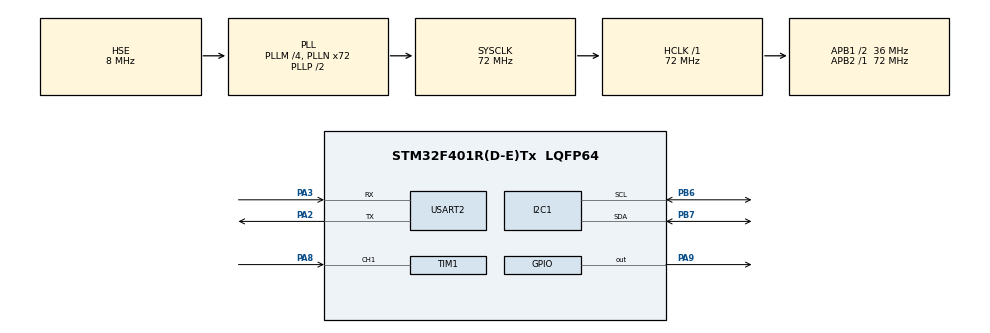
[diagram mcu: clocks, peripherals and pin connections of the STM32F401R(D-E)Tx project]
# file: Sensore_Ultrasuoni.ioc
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Mcu.Family=STM32F4
Mcu.Name=STM32F401R(D-E)Tx
Mcu.Package=LQFP64
NVIC.PriorityGroup=NVIC_PRIORITYGROUP_0
NVIC.TIM1_CC_IRQn=true\:0\:0\:false\:false\:true\:true\:true
PA13.Mode=Serial_Wire
PA13.Signal=SYS_JTMS-SWDIO
PA14.Mode=Serial_Wire
PA14.Signal=SYS_JTCK-SWCLK
PA2.Mode=Asynchronous
PA2.Signal=USART2_TX
PA3.Mode=Asynchronous
PA3.Signal=USART2_RX
PA8.Signal=S_TIM1_CH1
PA9.Signal=GPIO_Output
PB3.Signal=SYS_JTDO-SWO
PB6.Mode=I2C
PB6.Signal=I2C1_SCL
PB7.Mode=I2C
PB7.Signal=I2C1_SDA
PH0\ -\ OSC_IN.Mode=HSE-External-Clock-Source
PH0\ -\ OSC_IN.Signal=RCC_OSC_IN
PH1\ -\ OSC_OUT.Mode=HSE-External-Clock-Source
PH1\ -\ OSC_OUT.Signal=RCC_OSC_OUT
ProjectManager.HeapSize=0x200
ProjectManager.StackSize=0x400
ProjectManager.TargetToolchain=STM32CubeIDE
RCC.48MHZClocksFreq_Value=20571428.57142857
RCC.AHBFreq_Value=72000000
RCC.APB1CLKDivider=RCC_HCLK_DIV2
RCC.APB1Freq_Value=36000000
RCC.APB1TimFreq_Value=72000000
RCC.APB2Freq_Value=72000000
RCC.APB2TimFreq_Value=72000000
RCC.CortexFreq_Value=72000000
RCC.HCLKFreq_Value=72000000
RCC.HSE_VALUE=8000000
RCC.HSI_VALUE=16000000
RCC.PLLM=4
RCC.PLLN=72
RCC.PLLQ=7
RCC.PLLSourceVirtual=RCC_PLLSOURCE_HSE
RCC.SYSCLKFreq_VALUE=72000000
RCC.SYSCLKSource=RCC_SYSCLKSOURCE_PLLCLK
RCC.VCOOutputFreq_Value=144000000
SH.S_TIM1_CH1.0=TIM1_CH1,Input_Capture1_from_TI1
TIM1.Channel-Input_Capture1_from_TI1=TIM_CHANNEL_1
TIM1.Period=0xFFFF-1
TIM1.Prescaler=72-1
USART2.VirtualMode=VM_ASYNC
board=NUCLEO-F401RE

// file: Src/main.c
/* USER CODE BEGIN Header */
/**
  ******************************************************************************
  * @file           : main.c
  * @brief          : Enrico Ubaldino - url: https://controllerstech.com/hcsr04-ultrasonic-sensor-and-stm32/
  ******************************************************************************
  * @attention
  *
  * <h2><center>&copy; Copyright (c) 2023 STMicroelectronics.
  * All rights reserved.</center></h2>
  *
  * This software component is licensed by ST under BSD 3-Clause license,
  * the "License"; You may not use this file except in compliance with the
  * License. You may obtain a copy of the License at:
  *                        opensource.org/licenses/BSD-3-Clause
  *
  ******************************************************************************
  */
/* USER CODE END Header */

#include "main.h"

I2C_HandleTypeDef hi2c1;

TIM_HandleTypeDef htim1;

UART_HandleTypeDef huart2;

void SystemClock_Config(void);
static void MX_GPIO_Init(void);
static void MX_TIM1_Init(void);
static void MX_I2C1_Init(void);
static void MX_USART2_UART_Init(void);

/* USER CODE BEGIN 0 */
uint32_t IC_Val1 = 0;
uint32_t IC_Val2 = 0;
uint32_t Difference = 0;
uint8_t Is_First_Captured = 0;  // is the first value captured ?
uint8_t Distance  = 0;
//GPIO
#define TRIG_PORT GPIOA
//Pin TRIG
#define TRIG_PIN GPIO_PIN_8
//Pin ECHO
#define ECHO_PIN GPIO_PIN_9

void delay (uint16_t time){
	__HAL_TIM_SET_COUNTER(&htim1, 0);
	while(__HAL_TIM_GET_COUNTER (&htim1) < time);
}

// Let's write the callback function
void HAL_TIM_IC_CaptureCallback(TIM_HandleTypeDef *htim)
{
	if (htim->Channel == HAL_TIM_ACTIVE_CHANNEL_1)  // if the interrupt source is channel1
	{
		if (Is_First_Captured==0) // if the first value is not captured
		{
			IC_Val1 = HAL_TIM_ReadCapturedValue(htim, TIM_CHANNEL_1); // read the first value
			Is_First_Captured = 1;  // set the first captured as true
			// Now change the polarity to falling edge
			__HAL_TIM_SET_CAPTUREPOLARITY(htim, TIM_CHANNEL_1, TIM_INPUTCHANNELPOLARITY_FALLING);
		}

		else if (Is_First_Captured==1)   // if the first is already captured
		{
			IC_Val2 = HAL_TIM_ReadCapturedValue(htim, TIM_CHANNEL_1);  // read second value
			__HAL_TIM_SET_COUNTER(htim, 0);  // reset the counter

			if (IC_Val2 > IC_Val1)
			{
				Difference = IC_Val2-IC_Val1;
			}

			else if (IC_Val1 > IC_Val2)
			{
				Difference = (0xffff - IC_Val1) + IC_Val2;
			}

			Distance = Difference * .034/2;//sound velocity
			Is_First_Captured = 0; // set it back to false

			// set polarity to rising edge
			__HAL_TIM_SET_CAPTUREPOLARITY(htim, TIM_CHANNEL_1, TIM_INPUTCHANNELPOLARITY_RISING);
			__HAL_TIM_DISABLE_IT(&htim1, TIM_IT_CC1);
		}
	}
}

//Manda burst
void HCSR04_Read (void){
	HAL_GPIO_WritePin(TRIG_PORT, TRIG_PIN, GPIO_PIN_SET);  // pull the TRIG pin HIGH
	delay(10);  // wait for 10 us
	HAL_GPIO_WritePin(TRIG_PORT, TRIG_PIN, GPIO_PIN_RESET);  // pull the TRIG pin low

	__HAL_TIM_ENABLE_IT(&htim1, TIM_IT_CC1);
}
/* USER CODE END 0 */

int main(void)
{

  /* MCU Configuration--------------------------------------------------------*/

  /* Reset of all peripherals, Initializes the Flash interface and the Systick. */
  HAL_Init();

  /* Configure the system clock */
  SystemClock_Config();

  /* Initialize all configured peripherals */
  MX_GPIO_Init();
  MX_TIM1_Init();
  MX_I2C1_Init();
  MX_USART2_UART_Init();
  /* USER CODE BEGIN 2 */

  HAL_TIM_IC_Start_IT(&htim1, TIM_CHANNEL_1);
  HAL_UART_Transmit(&huart2, "ST NUCLEO Enrico Ubaldino Started! \n\r", 19, 0xFFFF);

  /* USER CODE END 2 */

  /* Infinite loop */
  while (1)
  {

    /* USER CODE BEGIN 3 */
	  //Eseguo una lettura
	  HCSR04_Read();
	  //wait prima della prossima lettura
	  HAL_Delay(200);
	  char msg[100] = {'\0'};
	  sprintf(&msg, "Distance: %dcm\r\n", Distance);
	  HAL_UART_Transmit(&huart2, (uint8_t*)&msg, strlen(msg), 0xFFFF);

  }
  /* USER CODE END 3 */
}

void SystemClock_Config(void)
{
  RCC_OscInitTypeDef RCC_OscInitStruct = {0};
  RCC_ClkInitTypeDef RCC_ClkInitStruct = {0};

  /** Configure the main internal regulator output voltage
  */
  __HAL_RCC_PWR_CLK_ENABLE();
  __HAL_PWR_VOLTAGESCALING_CONFIG(PWR_REGULATOR_VOLTAGE_SCALE2);
  /** Initializes the CPU, AHB and APB busses clocks
  */
  RCC_OscInitStruct.OscillatorType = RCC_OSCILLATORTYPE_HSE;
  RCC_OscInitStruct.HSEState = RCC_HSE_BYPASS;
  RCC_OscInitStruct.PLL.PLLState = RCC_PLL_ON;
  RCC_OscInitStruct.PLL.PLLSource = RCC_PLLSOURCE_HSE;
  RCC_OscInitStruct.PLL.PLLM = 4;
  RCC_OscInitStruct.PLL.PLLN = 72;
  RCC_OscInitStruct.PLL.PLLP = RCC_PLLP_DIV2;
  RCC_OscInitStruct.PLL.PLLQ = 7;
  if (HAL_RCC_OscConfig(&RCC_OscInitStruct) != HAL_OK)
  {
    Error_Handler();
  }
  /** Initializes the CPU, AHB and APB busses clocks
  */
  RCC_ClkInitStruct.ClockType = RCC_CLOCKTYPE_HCLK|RCC_CLOCKTYPE_SYSCLK
                              |RCC_CLOCKTYPE_PCLK1|RCC_CLOCKTYPE_PCLK2;
  RCC_ClkInitStruct.SYSCLKSource = RCC_SYSCLKSOURCE_PLLCLK;
  RCC_ClkInitStruct.AHBCLKDivider = RCC_SYSCLK_DIV1;
  RCC_ClkInitStruct.APB1CLKDivider = RCC_HCLK_DIV2;
  RCC_ClkInitStruct.APB2CLKDivider = RCC_HCLK_DIV1;

  if (HAL_RCC_ClockConfig(&RCC_ClkInitStruct, FLASH_LATENCY_2) != HAL_OK)
  {
    Error_Handler();
  }
}

static void MX_I2C1_Init(void)
{

  hi2c1.Instance = I2C1;
  hi2c1.Init.ClockSpeed = 100000;
  hi2c1.Init.DutyCycle = I2C_DUTYCYCLE_2;
  hi2c1.Init.OwnAddress1 = 0;
  hi2c1.Init.AddressingMode = I2C_ADDRESSINGMODE_7BIT;
  hi2c1.Init.DualAddressMode = I2C_DUALADDRESS_DISABLE;
  hi2c1.Init.OwnAddress2 = 0;
  hi2c1.Init.GeneralCallMode = I2C_GENERALCALL_DISABLE;
  hi2c1.Init.NoStretchMode = I2C_NOSTRETCH_DISABLE;
  if (HAL_I2C_Init(&hi2c1) != HAL_OK)
  {
    Error_Handler();
  }

}

static void MX_TIM1_Init(void)
{

  TIM_MasterConfigTypeDef sMasterConfig = {0};
  TIM_IC_InitTypeDef sConfigIC = {0};

  htim1.Instance = TIM1;
  htim1.Init.Prescaler = 72-1;
  htim1.Init.CounterMode = TIM_COUNTERMODE_UP;
  htim1.Init.Period = 0xFFFF-1;
  htim1.Init.ClockDivision = TIM_CLOCKDIVISION_DIV1;
  htim1.Init.RepetitionCounter = 0;
  htim1.Init.AutoReloadPreload = TIM_AUTORELOAD_PRELOAD_DISABLE;
  if (HAL_TIM_IC_Init(&htim1) != HAL_OK)
  {
    Error_Handler();
  }
  sMasterConfig.MasterOutputTrigger = TIM_TRGO_RESET;
  sMasterConfig.MasterSlaveMode = TIM_MASTERSLAVEMODE_DISABLE;
  if (HAL_TIMEx_MasterConfigSynchronization(&htim1, &sMasterConfig) != HAL_OK)
  {
    Error_Handler();
  }
  sConfigIC.ICPolarity = TIM_INPUTCHANNELPOLARITY_RISING;
  sConfigIC.ICSelection = TIM_ICSELECTION_DIRECTTI;
  sConfigIC.ICPrescaler = TIM_ICPSC_DIV1;
  sConfigIC.ICFilter = 0;
  if (HAL_TIM_IC_ConfigChannel(&htim1, &sConfigIC, TIM_CHANNEL_1) != HAL_OK)
  {
    Error_Handler();
  }

}

static void MX_USART2_UART_Init(void)
{

  huart2.Instance = USART2;
  huart2.Init.BaudRate = 115200;
  huart2.Init.WordLength = UART_WORDLENGTH_8B;
  huart2.Init.StopBits = UART_STOPBITS_1;
  huart2.Init.Parity = UART_PARITY_NONE;
  huart2.Init.Mode = UART_MODE_TX_RX;
  huart2.Init.HwFlowCtl = UART_HWCONTROL_NONE;
  huart2.Init.OverSampling = UART_OVERSAMPLING_16;
  if (HAL_UART_Init(&huart2) != HAL_OK)
  {
    Error_Handler();
  }

}

static void MX_GPIO_Init(void)
{
  GPIO_InitTypeDef GPIO_InitStruct = {0};

  /* GPIO Ports Clock Enable */
  __HAL_RCC_GPIOH_CLK_ENABLE();
  __HAL_RCC_GPIOA_CLK_ENABLE();
  __HAL_RCC_GPIOB_CLK_ENABLE();

  /*Configure GPIO pin Output Level */
  HAL_GPIO_WritePin(GPIOA, GPIO_PIN_9, GPIO_PIN_RESET);

  /*Configure GPIO pin : PA9 */
  GPIO_InitStruct.Pin = GPIO_PIN_9;
  GPIO_InitStruct.Mode = GPIO_MODE_OUTPUT_PP;
  GPIO_InitStruct.Pull = GPIO_NOPULL;
  GPIO_InitStruct.Speed = GPIO_SPEED_FREQ_LOW;
  HAL_GPIO_Init(GPIOA, &GPIO_InitStruct);

}

void Error_Handler(void)
{
}

/************************ (C) COPYRIGHT STMicroelectronics *****END OF FILE****/
